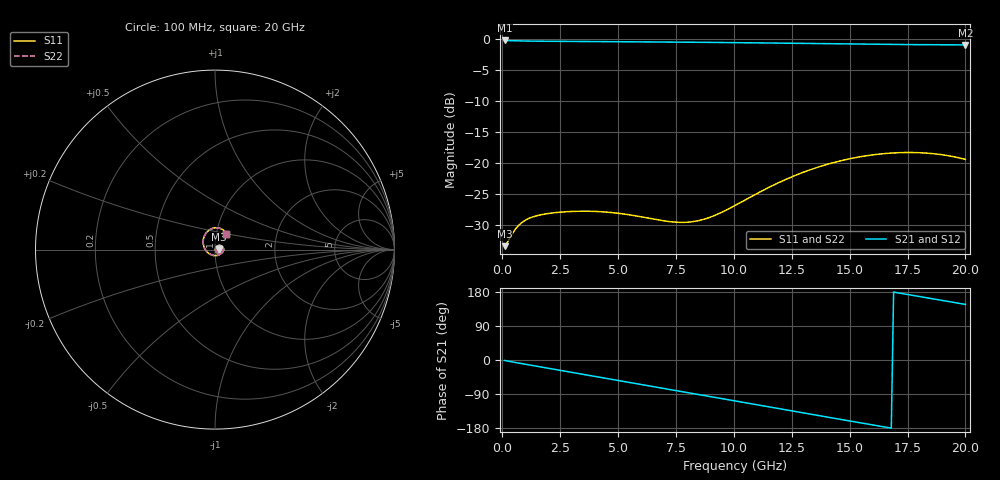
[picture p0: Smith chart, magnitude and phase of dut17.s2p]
! Touchstone file exported from HFSS 2026.1.0
!  File:  C:/ffzhzh/LocalFiles/Ansys_Project_Files/temp_test_TSV_RDL_17_1782980506_15332.aedt
!  Generated:  04:29:35 PM Jul  2, 2026
!  Design:  TSV_RDL
!  Project:  temp_test_TSV_RDL_17_1782980506_15332
! Variables:
!  h_bsmrdl = 2.15um
!  h_ox = 20um
!  h_rdl = 5um
!  h_sub = 71.18um
!  h_tmrdl = 2.97um
!  h_tsv = 71.18um
!  h_via = 3um
!  l_bsmrdl = 578.44um
!  l_sub = 3255.38um
!  l_tmrdl = 251.29um
!  m_sub = 200um
!  pitch = 27.23um
!  r_tsv = 11.63um
!  s_tmrdl = 10um
!  w_bsmrdl = 23.67um
!  w_sub = 500um
!  w_tmrdl = 14.63um
!  x_tsv_center1 = 258.605um
!  x_tsv_center2 = 860.715um
!  x_tsv_center3 = 1126.635um
!  x_tsv_center4 = 1728.745um
!  x_tsv_center5 = 1994.665um
!  x_tsv_center6 = 2596.775um
# GHz S MA R 50.000000
! Terminal data exported
! Port[1] = TM_RDL1_1_T1
! Port[2] = TM_RDL5_1_T1
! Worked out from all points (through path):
!   200 points, 100 MHz to 20 GHz, reference 50 ohm
!   highest |S21| = -0.19 dB at 100 MHz (marker M1); lowest = -0.9 dB at 20 GHz (marker M2)
!   group delay of S21, straight-line fit = 29.6 ps
!   lowest |S11| = -33.3 dB at 100 MHz (marker M3), VSWR 1.04, Z = 52.2 + j0.255 ohm
!   |S11| at or under -10 dB: start of sweep to end of sweep
!   |S22| runs from -33.3 to -18.3 dB; largest |S21 - S12| = 1.6e-14
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0.1  0.02153 6.5  0.9787 -1.2  0.9787 -1.2  0.02153 6.5
! Gamma 0 0 0 0
! Port Impedance 50 0 50 0
0.6  0.03007 17.4  0.9721 -7.0  0.9721 -7.0  0.03007 17.4
1.1  0.03569 12.4  0.9673 -12.3  0.9673 -12.3  0.0357 12.4
1.6  0.03831 6.8  0.9648 -17.7  0.9648 -17.7  0.03832 6.8
2.3  0.04013 -0.2  0.9626 -25.2  0.9626 -25.2  0.04015 -0.2
3.5  0.0412 -12.7  0.9597 -38.0  0.9597 -38.0  0.04125 -12.7
5.2  0.03921 -36.0  0.9557 -56.3  0.9557 -56.3  0.03932 -36.0
6  0.0371 -50.6  0.9537 -64.9  0.9537 -64.9  0.03724 -50.7
6.8  0.03487 -68.7  0.9515 -73.4  0.9515 -73.4  0.03504 -68.7
7.7  0.03347 -93.6  0.9488 -83.1  0.9488 -83.1  0.03367 -93.5
8.4  0.03433 -115.5  0.9465 -90.6  0.9465 -90.6  0.03454 -115.3
9.1  0.0376 -137.4  0.9439 -98.1  0.9439 -98.1  0.03778 -137.1
10.1  0.04633 -165.0  0.9399 -108.8  0.9399 -108.8  0.04645 -164.6
11.7  0.06663 161.4  0.9326 -125.9  0.9326 -125.9  0.06667 161.7
13.4  0.09022 134.4  0.9241 -144.0  0.9241 -144.0  0.0902 134.6
14.3  0.1015 122.0  0.9197 -153.5  0.9197 -153.5  0.1014 122.2
15.1  0.1099 111.7  0.9159 -161.9  0.9159 -161.9  0.1099 111.8
15.9  0.1165 101.7  0.9124 -170.3  0.9124 -170.3  0.1164 101.9
16.7  0.1208 92.2  0.9093 -178.7  0.9093 -178.7  0.1207 92.3
18.3  0.1211 73.7  0.9046 164.5  0.9046 164.5  0.121 73.7
19.1  0.1166 64.6  0.903 156.1  0.903 156.1  0.1165 64.7
20  0.1077 54.5  0.9017 146.7  0.9017 146.7  0.1076 54.5
